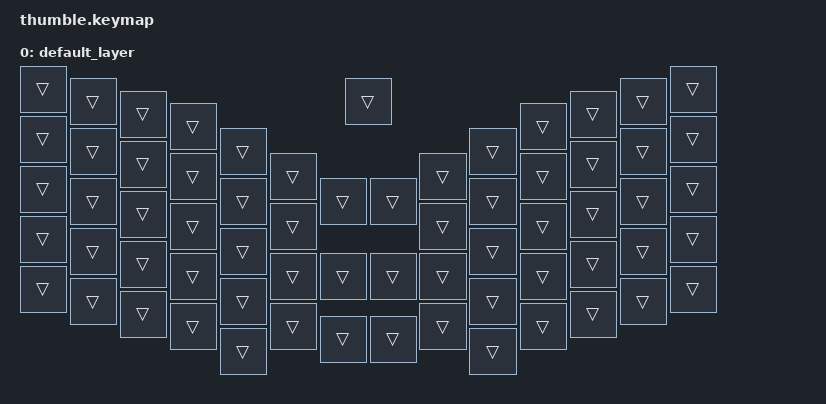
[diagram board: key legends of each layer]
#include <behaviors.dtsi>
#include <dt-bindings/zmk/keys.h>

/ {
    keymap {
        compatible = "zmk,keymap";

        default_layer { // Layer 0
            bindings = <
&trans &trans &trans &trans &trans        &trans               &trans &trans &trans &trans &trans
&trans &trans &trans &trans &trans &trans               &trans &trans &trans &trans &trans &trans
&trans &trans &trans &trans &trans &trans &trans &trans &trans &trans &trans &trans &trans &trans
&trans &trans &trans &trans &trans &trans &trans &trans &trans &trans &trans &trans &trans &trans
&trans &trans &trans &trans &trans &trans &trans &trans &trans &trans &trans &trans &trans &trans
            >;
        };
    };
 };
